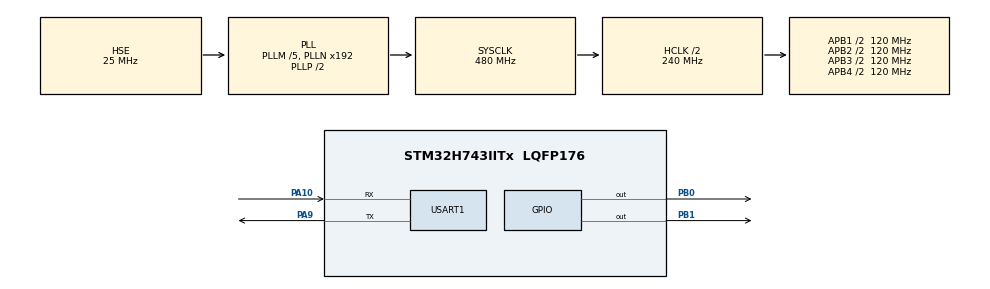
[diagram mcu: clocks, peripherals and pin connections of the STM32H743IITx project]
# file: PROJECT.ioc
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CORTEX_M7.CPU_DCache=Enabled
CORTEX_M7.CPU_ICache=Enabled
Mcu.Family=STM32H7
Mcu.Name=STM32H743IITx
Mcu.Package=LQFP176
NVIC.PriorityGroup=NVIC_PRIORITYGROUP_4
NVIC.USART1_IRQn=true\:0\:0\:false\:false\:true\:true\:true\:true
PA10.Mode=Asynchronous
PA10.Signal=USART1_RX
PA9.Mode=Asynchronous
PA9.Signal=USART1_TX
PB0.GPIO_ModeDefaultOutputPP=GPIO_MODE_OUTPUT_PP
PB0.GPIO_PuPd=GPIO_PULLUP
PB0.GPIO_Speed=GPIO_SPEED_FREQ_VERY_HIGH
PB0.PinState=GPIO_PIN_SET
PB0.Signal=GPIO_Output
PB1.GPIO_PuPd=GPIO_PULLUP
PB1.GPIO_Speed=GPIO_SPEED_FREQ_VERY_HIGH
PB1.PinState=GPIO_PIN_SET
PB1.Signal=GPIO_Output
PH0-OSC_IN\ (PH0).Mode=HSE-External-Oscillator
PH0-OSC_IN\ (PH0).Signal=RCC_OSC_IN
PH1-OSC_OUT\ (PH1).Mode=HSE-External-Oscillator
PH1-OSC_OUT\ (PH1).Signal=RCC_OSC_OUT
ProjectManager.HeapSize=0x1000
ProjectManager.StackSize=0x1000
ProjectManager.TargetToolchain=MDK-ARM V5.32
RCC.ADCFreq_Value=50390625
RCC.APB1Freq_Value=120000000
RCC.APB2Freq_Value=120000000
RCC.APB3Freq_Value=120000000
RCC.APB4Freq_Value=120000000
RCC.CortexFreq_Value=480000000
RCC.D1PPRE=RCC_APB3_DIV2
RCC.D2PPRE1=RCC_APB1_DIV2
RCC.D2PPRE2=RCC_APB2_DIV2
RCC.D3PPRE=RCC_APB4_DIV2
RCC.DIVM1=5
RCC.DIVN1=192
RCC.HCLKFreq_Value=240000000
RCC.HPRE=RCC_HCLK_DIV2
RCC.PLL2FRACN=0
RCC.PLL3FRACN=0
RCC.PLLFRACN=0
RCC.PLLSourceVirtual=RCC_PLLSOURCE_HSE
RCC.SYSCLKFreq_VALUE=480000000
RCC.SYSCLKSource=RCC_SYSCLKSOURCE_PLLCLK
RCC.USBFreq_Value=480000000
USART1.VirtualMode-Asynchronous=VM_ASYNC
board=custom

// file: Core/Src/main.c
/* USER CODE BEGIN Header */
/**
  ******************************************************************************
  * @file           : main.c
  * @brief          : Main program body
  ******************************************************************************
  * @attention
  *
  * Copyright (c) 2024 STMicroelectronics.
  * All rights reserved.
  *
  * This software is licensed under terms that can be found in the LICENSE file
  * in the root directory of this software component.
  * If no LICENSE file comes with this software, it is provided AS-IS.
  *
  ******************************************************************************
  */
/* USER CODE END Header */
#include "main.h"
#include "usart.h"
#include "gpio.h"

/* USER CODE BEGIN Includes */
#include <stdio.h>
#include "iled.h"
#include "idelay.h"
#include "iusart.h"
/* USER CODE END Includes */

void SystemClock_Config(void);

int main(void)
{
/* Enable the CPU Cache */

  /* Enable I-Cache---------------------------------------------------------*/
  SCB_EnableICache();

  /* Enable D-Cache---------------------------------------------------------*/
  SCB_EnableDCache();

  /* MCU Configuration--------------------------------------------------------*/

  /* Reset of all peripherals, Initializes the Flash interface and the Systick. */
  HAL_Init();

  /* Configure the system clock */
  SystemClock_Config();

  /* Initialize all configured peripherals */
  MX_GPIO_Init();
  MX_USART1_UART_Init();

  /* Infinite loop */
  while (1)
  {

    /* USER CODE BEGIN 3 */
	LED_1(1);
	LED_2(0);
    HAL_Delay(1000);
	LED_1(0);
	LED_2(1);
    HAL_Delay(1000);
	printf("CSW INFO: HELLO WORLD!\r\n");
	USART1_printf("CSW NEW PRINTF TEST!\r\n");

  }
  /* USER CODE END 3 */
}

void SystemClock_Config(void)
{
  RCC_OscInitTypeDef RCC_OscInitStruct = {0};
  RCC_ClkInitTypeDef RCC_ClkInitStruct = {0};

  /** Supply configuration update enable
  */
  HAL_PWREx_ConfigSupply(PWR_LDO_SUPPLY);

  /** Configure the main internal regulator output voltage
  */
  __HAL_PWR_VOLTAGESCALING_CONFIG(PWR_REGULATOR_VOLTAGE_SCALE1);

  while(!__HAL_PWR_GET_FLAG(PWR_FLAG_VOSRDY)) {}

  __HAL_RCC_SYSCFG_CLK_ENABLE();
  __HAL_PWR_VOLTAGESCALING_CONFIG(PWR_REGULATOR_VOLTAGE_SCALE0);

  while(!__HAL_PWR_GET_FLAG(PWR_FLAG_VOSRDY)) {}

  /** Initializes the RCC Oscillators according to the specified parameters
  * in the RCC_OscInitTypeDef structure.
  */
  RCC_OscInitStruct.OscillatorType = RCC_OSCILLATORTYPE_HSE;
  RCC_OscInitStruct.HSEState = RCC_HSE_ON;
  RCC_OscInitStruct.PLL.PLLState = RCC_PLL_ON;
  RCC_OscInitStruct.PLL.PLLSource = RCC_PLLSOURCE_HSE;
  RCC_OscInitStruct.PLL.PLLM = 5;
  RCC_OscInitStruct.PLL.PLLN = 192;
  RCC_OscInitStruct.PLL.PLLP = 2;
  RCC_OscInitStruct.PLL.PLLQ = 2;
  RCC_OscInitStruct.PLL.PLLR = 2;
  RCC_OscInitStruct.PLL.PLLRGE = RCC_PLL1VCIRANGE_2;
  RCC_OscInitStruct.PLL.PLLVCOSEL = RCC_PLL1VCOWIDE;
  RCC_OscInitStruct.PLL.PLLFRACN = 0;
  if (HAL_RCC_OscConfig(&RCC_OscInitStruct) != HAL_OK)
  {
    Error_Handler();
  }

  /** Initializes the CPU, AHB and APB buses clocks
  */
  RCC_ClkInitStruct.ClockType = RCC_CLOCKTYPE_HCLK|RCC_CLOCKTYPE_SYSCLK
                              |RCC_CLOCKTYPE_PCLK1|RCC_CLOCKTYPE_PCLK2
                              |RCC_CLOCKTYPE_D3PCLK1|RCC_CLOCKTYPE_D1PCLK1;
  RCC_ClkInitStruct.SYSCLKSource = RCC_SYSCLKSOURCE_PLLCLK;
  RCC_ClkInitStruct.SYSCLKDivider = RCC_SYSCLK_DIV1;
  RCC_ClkInitStruct.AHBCLKDivider = RCC_HCLK_DIV2;
  RCC_ClkInitStruct.APB3CLKDivider = RCC_APB3_DIV2;
  RCC_ClkInitStruct.APB1CLKDivider = RCC_APB1_DIV2;
  RCC_ClkInitStruct.APB2CLKDivider = RCC_APB2_DIV2;
  RCC_ClkInitStruct.APB4CLKDivider = RCC_APB4_DIV2;

  if (HAL_RCC_ClockConfig(&RCC_ClkInitStruct, FLASH_LATENCY_4) != HAL_OK)
  {
    Error_Handler();
  }
}

/* USER CODE BEGIN 4 */

int fputc(int ch, FILE *f)
{
	HAL_UART_Transmit(&huart1, (uint8_t *)&ch, 1, 1000);
	return ch;
}

/* USER CODE END 4 */

void Error_Handler(void)
{
  __disable_irq();
  while (1)
  {
  }
}
